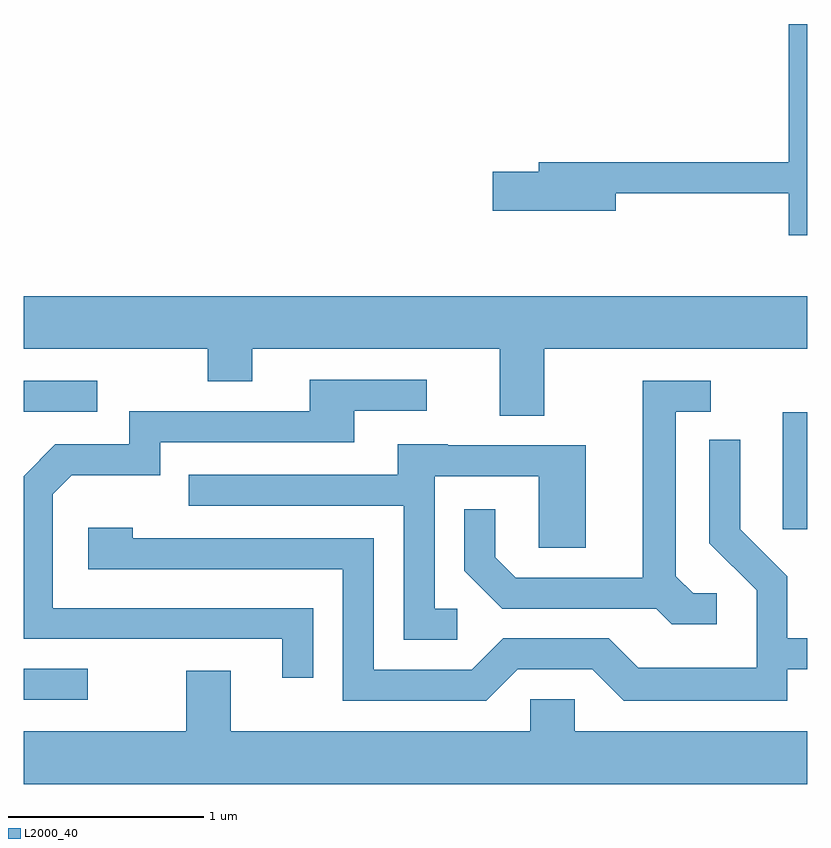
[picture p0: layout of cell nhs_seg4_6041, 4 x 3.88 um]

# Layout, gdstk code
import gdstk
lib = gdstk.Library(unit=1e-6, precision=1e-09)
def R(c, l, rs):  # rectangles x0, y0, x1, y1
    for r in rs: c.add(gdstk.rectangle(r[:2], r[2:], *l))
def P(c, l, *ps):  # polygons
    for p in ps: c.add(gdstk.Polygon(p, *l))
L2000_40 = (2000, 40)

nhs_seg4_6041 = lib.new_cell('nhs_seg4_6041')
R(nhs_seg4_6041, L2000_40, [(361.611,1368.426,361.938,1368.584), (365.486,1369.296,365.611,1369.894), (361.611,1369.896,361.988,1370.054)])
P(nhs_seg4_6041, L2000_40, [(365.611,1371.874),(365.516,1371.874),(365.516,1371.169),(364.241,1371.169),(364.241,1371.119),(364.006,1371.119),(364.006,1370.921),(364.634,1370.921),(364.634,1371.011),(365.516,1371.011),(365.516,1370.796),(365.611,1370.796)],
  [(364.269,1370.216),(365.611,1370.216),(365.611,1370.484),(361.611,1370.484),(361.611,1370.216),(362.551,1370.216),(362.551,1370.051),(362.779,1370.051),(362.779,1370.216),(364.041,1370.216),(364.041,1369.876),(364.269,1369.876)],
  [(363.089,1368.894),(361.759,1368.894),(361.759,1369.474),(361.857,1369.571),(362.309,1369.571),(362.309,1369.741),(363.299,1369.741),(363.299,1369.901),(363.668,1369.901),(363.668,1370.059),(363.071,1370.059),(363.071,1369.899),(362.151,1369.899),(362.151,1369.729),(361.774,1369.729),(361.611,1369.567),(361.611,1368.736),(362.931,1368.736),(362.931,1368.538),(363.089,1368.538)],
  [(365.148,1368.969),(365.027,1368.969),(364.939,1369.057),(364.939,1369.896),(365.118,1369.896),(365.118,1370.054),(364.771,1370.054),(364.771,1369.049),(364.122,1369.049),(364.019,1369.152),(364.019,1369.398),(363.861,1369.398),(363.861,1369.084),(364.054,1368.891),(364.839,1368.891),(364.919,1368.811),(365.148,1368.811)],
  [(364.132,1368.581),(364.514,1368.581),(364.674,1368.421),(365.509,1368.421),(365.509,1368.581),(365.611,1368.581),(365.611,1368.739),(365.509,1368.739),(365.509,1369.057),(365.269,1369.297),(365.269,1369.753),(365.111,1369.753),(365.111,1369.224),(365.351,1368.984),(365.351,1368.589),(364.747,1368.589),(364.597,1368.739),(364.059,1368.739),(363.899,1368.579),(363.399,1368.579),(363.399,1369.249),(362.169,1369.249),(362.169,1369.304),(361.941,1369.304),(361.941,1369.091),(363.241,1369.091),(363.241,1368.421),(363.972,1368.421)],
  [(363.823,1368.889),(363.709,1368.889),(363.709,1369.566),(364.241,1369.566),(364.241,1369.201),(364.479,1369.201),(364.479,1369.724),(363.775,1369.724),(363.775,1369.729),(363.521,1369.729),(363.521,1369.574),(362.453,1369.574),(362.453,1369.416),(363.551,1369.416),(363.551,1368.731),(363.823,1368.731)],
  [(365.611,1368.264),(364.424,1368.264),(364.424,1368.429),(364.196,1368.429),(364.196,1368.264),(362.669,1368.264),(362.669,1368.574),(362.441,1368.574),(362.441,1368.264),(361.611,1368.264),(361.611,1367.996),(365.611,1367.996)])

lib.write_gds('nhs_seg4_6041.gds')
